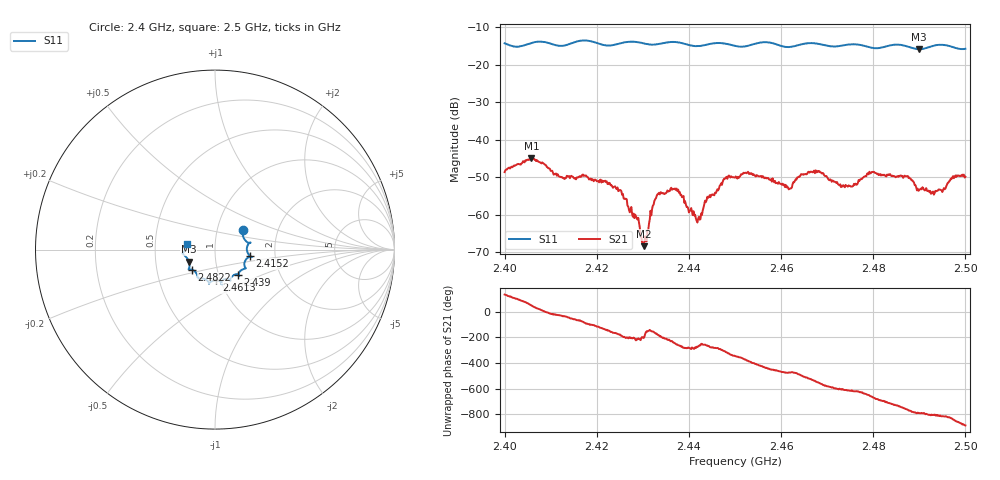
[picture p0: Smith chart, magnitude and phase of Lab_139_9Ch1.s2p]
# Hz S RI R 50
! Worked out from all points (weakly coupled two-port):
!   601 points, 2.4 GHz to 2.5 GHz, reference 50 ohm
!   highest |S21| = -44.92 dB at 2.4058 GHz (marker M1); lowest = -68.4 dB at 2.4302 GHz (marker M2)
!   lowest |S11| = -15.9 dB at 2.4898 GHz (marker M3), VSWR 1.38, Z = 37 - j5.04 ohm
!   |S11| at or under -10 dB: start of sweep to end of sweep
!   S12 and S22 are empty: the file has one direction only
!   S11 on the Smith chart (normalised r, x): 2.4 GHz: 1.33, +0.31; 2.4152 GHz: 1.48, -0.11; 2.439 GHz: 1.24, -0.36; 2.4613 GHz: 0.96, -0.34; 2.4822 GHz: 0.76, -0.17; 2.5 GHz: 0.72, +0.05
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2.4e9  0.1562 0.1113  -0.00248 0.00273  0 0  0 0
2.405833e9  0.1904 0.0372  0.0038 0.00421  0 0  0 0
2.415167e9  0.1949 -0.0359  0.00155 -0.0026  0 0  0 0
2.416667e9  0.2044 -0.0419  0.000846 -0.00311  0 0  0 0
2.425e9  0.1659 -0.0953  -0.00213 -6.92e-05  0 0  0 0
2.428833e9  0.1691 -0.105  -0.000691 0.000517  0 0  0 0
2.430167e9  0.1577 -0.109  -0.00034 0.000169  0 0  0 0
2.433333e9  0.1329 -0.1324  -0.00189 6.24e-05  0 0  0 0
2.437167e9  0.1355 -0.1461  -0.000661 0.00203  0 0  0 0
2.439e9  0.1282 -0.1392  0.000302 0.00141  0 0  0 0
2.442e9  0.0985 -0.1459  5.04e-06 0.000878  0 0  0 0
2.444e9  0.086 -0.1638  -0.000183 0.00172  0 0  0 0
2.45e9  0.0685 -0.1637  0.00302 0.00072  0 0  0 0
2.461333e9  0.00796 -0.1707  -0.00105 -0.00213  0 0  0 0
2.466667e9  -0.0333 -0.1903  -0.00365 -0.000614  0 0  0 0
2.4735e9  -0.0822 -0.1603  -0.000972 0.00227  0 0  0 0
2.482167e9  -0.1281 -0.1121  0.00304 0.00139  0 0  0 0
2.483333e9  -0.1395 -0.1105  0.0034 0.000465  0 0  0 0
2.487333e9  -0.1435 -0.1  0.0024 -0.00221  0 0  0 0
2.489833e9  -0.1457 -0.0664  0.00072 -0.00195  0 0  0 0
2.493e9  -0.1751 -0.0279  0.00015 -0.00202  0 0  0 0
2.5e9  -0.1586 0.0335  -0.00311 -0.000739  0 0  0 0
